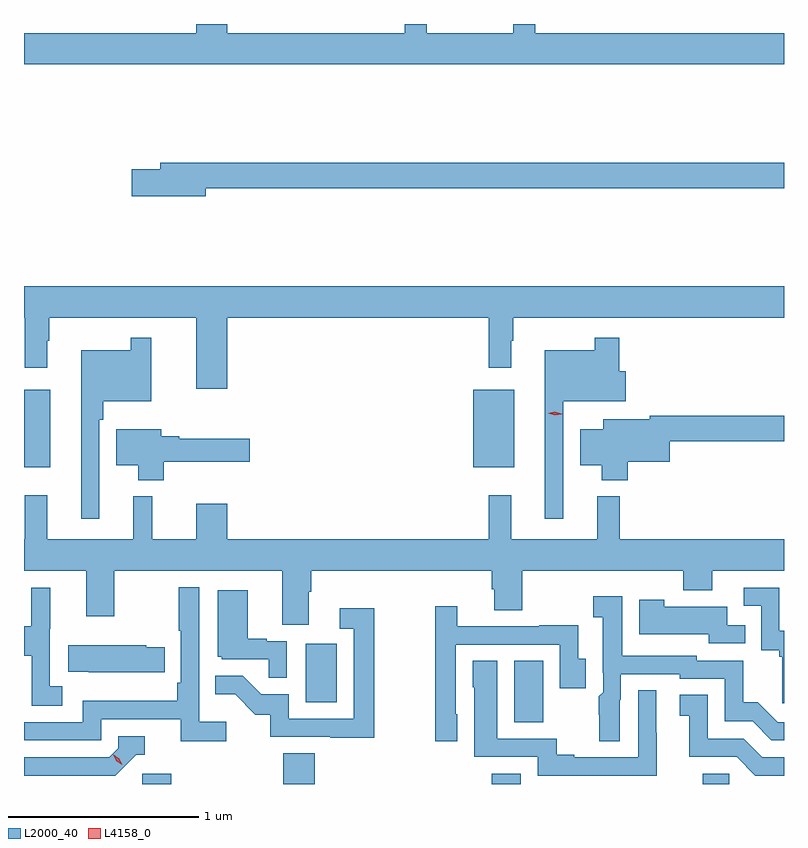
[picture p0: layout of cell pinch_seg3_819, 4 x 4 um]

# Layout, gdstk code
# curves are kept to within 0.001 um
import gdstk
lib = gdstk.Library(unit=1e-6, precision=1e-09)
def R(c, l, rs):  # rectangles x0, y0, x1, y1
    for r in rs: c.add(gdstk.rectangle(r[:2], r[2:], *l))
def P(c, l, *ps):  # polygons
    for p in ps: c.add(gdstk.Polygon(p, *l))
L2000_40 = (2000, 40)
L4158_0 = (4158, 0)

pinch_seg3_819 = lib.new_cell('pinch_seg3_819')
R(pinch_seg3_819, L2000_40, [(848.04,725.101,848.192,725.154), (848.783,725.101,848.948,725.264), (849.881,725.101,850.033,725.155), (850.991,725.101,851.13,725.154), (849.998,725.425,850.15,725.75), (848.9,725.532,849.064,725.839), (847.418,726.767,847.555,727.177), (849.782,726.767,849.997,727.177)])
P(pinch_seg3_819, L2000_40, [(851.418,729.052),(850.109,729.052),(850.109,729.101),(849.992,729.101),(849.992,729.052),(849.539,729.052),(849.539,729.101),(849.421,729.101),(849.421,729.052),(848.488,729.052),(848.488,729.101),(848.324,729.101),(848.324,729.052),(847.418,729.052),(847.418,728.888),(851.418,728.888)],
  [(848.374,728.236),(851.418,728.236),(851.418,728.372),(848.135,728.372),(848.135,728.336),(847.986,728.336),(847.986,728.194),(848.374,728.194)],
  [(848.488,727.556),(849.865,727.556),(849.865,727.293),(849.982,727.293),(849.982,727.433),(849.994,727.433),(849.994,727.556),(851.418,727.556),(851.418,727.72),(847.418,727.72),(847.418,727.556),(847.423,727.556),(847.423,727.293),(847.54,727.293),(847.54,727.433),(847.552,727.433),(847.552,727.556),(848.324,727.556),(848.324,727.182),(848.488,727.182)],
  [(847.815,727.019),(847.835,727.019),(847.835,727.115),(848.088,727.115),(848.088,727.45),(847.98,727.45),(847.98,727.384),(847.718,727.384),(847.718,726.498),(847.815,726.498)],
  [(850.257,727.115),(850.585,727.115),(850.585,727.273),(850.55,727.273),(850.55,727.45),(850.422,727.45),(850.422,727.384),(850.16,727.384),(850.16,726.498),(850.257,726.498)],
  [(850.595,726.797),(850.816,726.797),(850.816,726.904),(851.418,726.904),(851.418,727.04),(850.712,727.04),(850.712,727.021),(850.466,727.021),(850.466,726.967),(850.346,726.967),(850.346,726.779),(850.46,726.779),(850.46,726.701),(850.595,726.701)],
  [(848.153,726.797),(848.605,726.797),(848.605,726.919),(848.236,726.919),(848.236,726.932),(848.14,726.932),(848.14,726.967),(847.904,726.967),(847.904,726.779),(848.018,726.779),(848.018,726.701),(848.153,726.701)],
  [(848.917,726.112),(848.93,726.112),(848.93,726.224),(849.881,726.224),(849.881,726.126),(849.893,726.126),(849.893,726.016),(850.041,726.016),(850.041,726.224),(850.889,726.224),(850.889,726.122),(851.041,726.122),(851.041,726.224),(851.418,726.224),(851.418,726.388),(850.553,726.388),(850.553,726.616),(850.436,726.616),(850.436,726.388),(849.983,726.388),(849.983,726.622),(849.865,726.622),(849.865,726.388),(848.488,726.388),(848.488,726.577),(848.324,726.577),(848.324,726.388),(848.094,726.388),(848.094,726.616),(847.994,726.616),(847.994,726.388),(847.541,726.388),(847.541,726.622),(847.423,726.622),(847.423,726.388),(847.418,726.388),(847.418,726.224),(847.745,726.224),(847.745,725.985),(847.893,725.985),(847.893,726.224),(848.777,726.224),(848.777,725.938),(848.917,725.938)],
  [(848.482,725.428),(848.34,725.428),(848.34,726.136),(848.232,726.136),(848.232,725.908),(848.244,725.908),(848.244,725.635),(848.224,725.635),(848.224,725.539),(847.728,725.539),(847.728,725.427),(847.418,725.427),(847.418,725.331),(847.824,725.331),(847.824,725.442),(848.243,725.442),(848.243,725.326),(848.482,725.326)],
  [(851.418,725.907),(851.394,725.907),(851.394,726.135),(851.205,726.135),(851.205,726.039),(851.298,726.039),(851.298,725.806),(851.392,725.806),(851.392,725.772),(851.41,725.772),(851.41,725.526),(851.418,725.526)],
  [(847.618,725.615),(847.554,725.615),(847.554,725.919),(847.556,725.919),(847.556,726.133),(847.457,726.133),(847.457,725.931),(847.418,725.931),(847.418,725.776),(847.458,725.776),(847.458,725.512),(847.618,725.512)],
  [(848.802,725.853),(848.696,725.853),(848.696,725.866),(848.596,725.866),(848.596,726.121),(848.438,726.121),(848.438,725.772),(848.46,725.772),(848.46,725.757),(848.707,725.757),(848.707,725.659),(848.802,725.659)],
  [(850.553,725.54),(850.56,725.547),(850.56,725.679),(850.869,725.679),(850.869,725.655),(851.106,725.655),(851.106,725.43),(851.253,725.43),(851.352,725.331),(851.418,725.331),(851.418,725.427),(851.385,725.427),(851.281,725.531),(851.204,725.531),(851.204,725.751),(850.959,725.751),(850.959,725.775),(850.567,725.775),(850.567,726.089),(850.413,726.089),(850.413,725.979),(850.464,725.979),(850.464,725.686),(850.466,725.686),(850.466,725.585),(850.444,725.563),(850.445,725.326),(850.553,725.326)],
  [(851.213,725.937),(851.118,725.937),(851.118,726.034),(850.788,726.034),(850.788,726.07),(850.655,726.07),(850.655,725.888),(851.022,725.888),(851.022,725.841),(851.213,725.841)],
  [(849.697,725.469),(849.69,725.469),(849.69,725.835),(850.239,725.835),(850.239,725.604),(850.374,725.604),(850.374,725.76),(850.335,725.76),(850.335,725.936),(850.129,725.936),(850.129,725.931),(849.697,725.931),(849.697,726.037),(849.582,726.037),(849.582,725.325),(849.697,725.325)],
  [(849.262,726.025),(849.081,726.025),(849.081,725.919),(849.153,725.919),(849.153,725.445),(848.811,725.445),(848.811,725.574),(848.667,725.574),(848.569,725.672),(848.425,725.672),(848.425,725.573),(848.529,725.573),(848.636,725.466),(848.713,725.466),(848.713,725.349),(849.031,725.349),(849.031,725.344),(849.262,725.344)],
  [(848.159,725.82),(848.061,725.82),(848.061,725.83),(847.651,725.83),(847.651,725.693),(847.759,725.693),(847.759,725.69),(848.159,725.69)],
  [(850.747,725.372),(850.746,725.372),(850.746,725.594),(850.65,725.594),(850.65,725.241),(850.315,725.241),(850.315,725.254),(850.221,725.254),(850.221,725.34),(849.91,725.34),(849.91,725.75),(849.779,725.75),(849.779,725.61),(849.788,725.61),(849.788,725.244),(850.122,725.244),(850.122,725.145),(850.747,725.145)],
  [(851.418,725.241),(851.304,725.241),(851.205,725.34),(851.016,725.34),(851.016,725.57),(850.869,725.57),(850.869,725.459),(850.919,725.459),(850.919,725.244),(851.168,725.244),(851.267,725.145),(851.418,725.145)],
  [(848.01,725.256),(848.053,725.256),(848.053,725.352),(847.914,725.352),(847.914,725.289),(847.866,725.241),(847.418,725.241),(847.418,725.145),(847.899,725.145)])
P(pinch_seg3_819, L4158_0, [(847.936,725.202),(847.905,725.221),(847.889,725.254),(847.889,725.254),(847.89,725.254),(847.92,725.235),(847.936,725.202),(847.936,725.202)],
  [(850.211,727.041),(850.176,727.052),(850.176,727.053),(850.176,727.053),(850.212,727.061),(850.247,727.049),(850.247,727.049),(850.247,727.048)])

lib.write_gds('pinch_seg3_819.gds')
